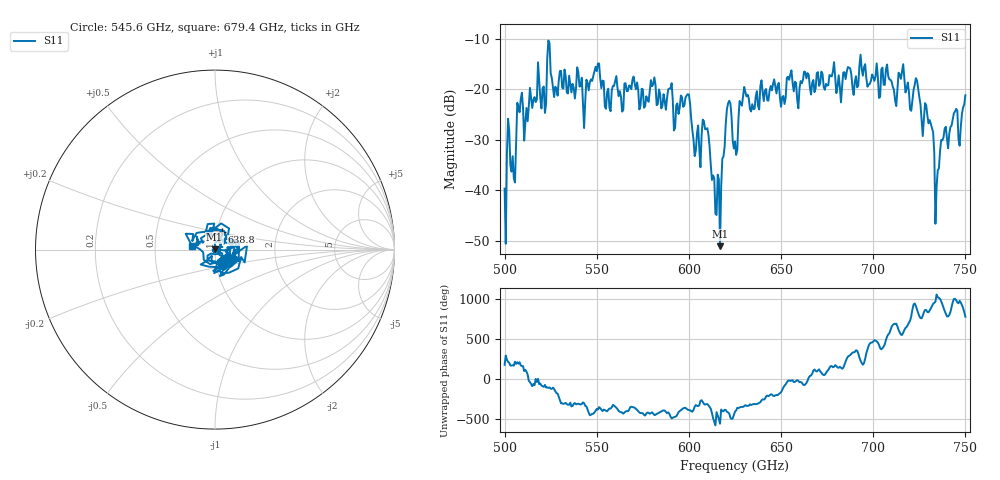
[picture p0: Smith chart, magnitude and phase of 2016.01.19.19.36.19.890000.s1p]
!Created with skrf (http://scikit-rf.org).
# GHz S RI R 50.0
!freq ReS11 ImS11
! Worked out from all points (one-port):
!   401 points, 500 GHz to 750 GHz, reference 50 ohm
!   lowest |S11| = -51.0 dB at 616.9 GHz (marker M1), VSWR 1.01, Z = 49.7 + j0.0962 ohm
!   |S11| at or under -10 dB: start of sweep to end of sweep
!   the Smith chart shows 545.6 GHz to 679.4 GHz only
!   S11 on the Smith chart (normalised r, x): 545.6 GHz: 1.08, -0.19; 638.8 GHz: 1.06, +0.21; 679.4 GHz: 0.77, +0.03
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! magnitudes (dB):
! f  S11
! 500 GHz  -39.6
! 502.5 GHz  -28.1
! 505 GHz  -37.6
! 508.1 GHz  -24.5
! 521.2 GHz  -19.5
! 524.4 GHz  -10.9
! 527.5 GHz  -19.5
! 531.2 GHz  -19.7
! 545.6 GHz  -20.2
! 562.5 GHz  -20.4
! 593.8 GHz  -22.8
! 599.4 GHz  -21.0
! 605 GHz  -27.2
! 608.8 GHz  -27.9
! 613.8 GHz  -37.6
! 616.9 GHz  -51.0
! 621.2 GHz  -22.8
! 625 GHz  -30.3
! 628.8 GHz  -23.2
! 638.8 GHz  -19.4
! 656.2 GHz  -18.7
! 679.4 GHz  -17.7
! 687.5 GHz  -15.9
! 718.8 GHz  -18.7
! 729.4 GHz  -25.2
! 734.4 GHz  -39.3
! 738.1 GHz  -29.5
! 750 GHz  -21.2
